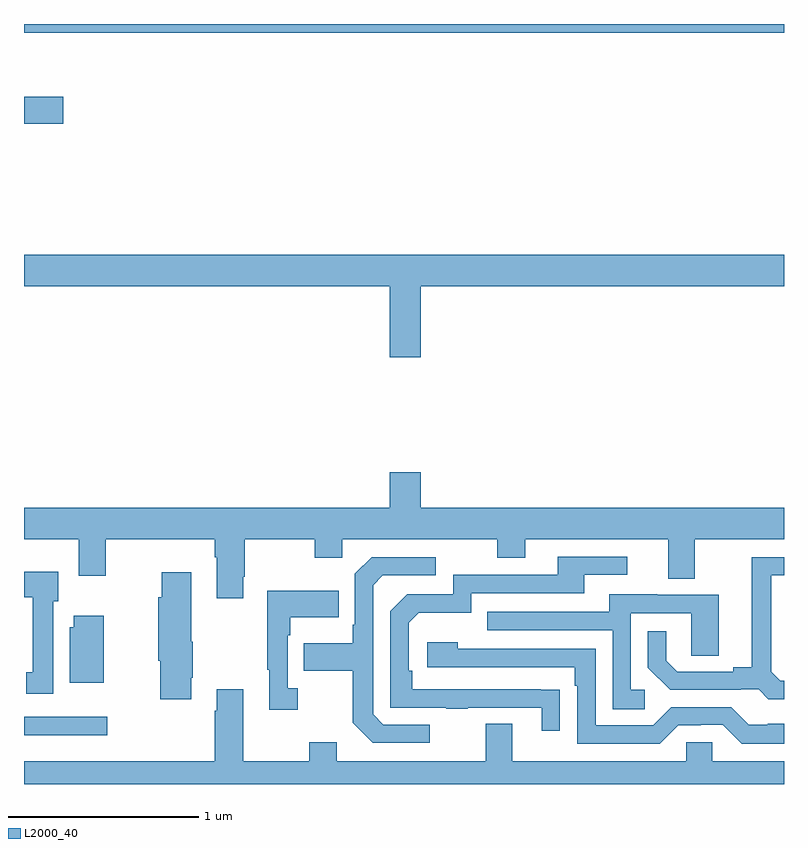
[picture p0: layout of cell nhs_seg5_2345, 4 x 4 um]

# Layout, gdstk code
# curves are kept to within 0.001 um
import gdstk
lib = gdstk.Library(unit=1e-6, precision=1e-09)
def R(c, l, rs):  # rectangles x0, y0, x1, y1
    for r in rs: c.add(gdstk.rectangle(r[:2], r[2:], *l))
def P(c, l, *ps):  # polygons
    for p in ps: c.add(gdstk.Polygon(p, *l))
L2000_40 = (2000, 40)

nhs_seg5_2345 = lib.new_cell('nhs_seg5_2345')
R(nhs_seg5_2345, L2000_40, [(247,861.056,247.438,861.153), (247,864.275,247.207,864.417), (247,864.752,251,864.799)])
P(nhs_seg5_2345, L2000_40, [(249.088,863.42),(251,863.42),(251,863.584),(247,863.584),(247,863.42),(248.924,863.42),(248.924,863.046),(249.088,863.046)],
  [(248.155,861.889),(248.163,861.889),(248.163,862.088),(248.53,862.088),(248.53,861.989),(248.676,861.989),(248.676,862.088),(249.49,862.088),(249.49,861.989),(249.637,861.989),(249.637,862.088),(250.391,862.088),(250.391,861.88),(250.531,861.88),(250.531,862.088),(251,862.088),(251,862.252),(249.088,862.252),(249.088,862.441),(248.924,862.441),(248.924,862.252),(247,862.252),(247,862.088),(247.289,862.088),(247.289,861.894),(247.429,861.894),(247.429,862.088),(248.003,862.088),(248.003,861.992),(248.015,861.992),(248.015,861.777),(248.155,861.777)],
  [(249.821,861.296),(249.044,861.297),(249.044,861.394),(249.024,861.394),(249.024,861.648),(249.077,861.701),(249.354,861.701),(249.354,861.804),(249.949,861.804),(249.949,861.9),(250.174,861.9),(250.174,861.996),(249.809,861.996),(249.809,861.9),(249.258,861.9),(249.258,861.798),(249.018,861.798),(248.928,861.708),(248.928,861.201),(249.223,861.201),(249.223,861.196),(249.335,861.196),(249.335,861.201),(249.725,861.201),(249.725,861.078),(249.821,861.078)],
  [(251,861.342),(250.98,861.342),(250.933,861.389),(250.933,861.897),(251,861.897),(251,861.993),(250.829,861.993),(250.829,861.413),(250.733,861.413),(250.733,861.39),(250.438,861.39),(250.381,861.447),(250.381,861.604),(250.284,861.604),(250.284,861.41),(250.4,861.294),(250.772,861.294),(250.772,861.297),(250.866,861.297),(250.918,861.245),(251,861.245)],
  [(249.136,861.111),(248.892,861.111),(248.838,861.165),(248.838,861.846),(248.889,861.897),(249.166,861.897),(249.166,861.993),(248.829,861.993),(248.742,861.906),(248.742,861.637),(248.73,861.637),(248.73,861.541),(248.473,861.541),(248.473,861.394),(248.73,861.394),(248.73,861.121),(248.835,861.015),(249.136,861.015)],
  [(247.153,861.762),(247.18,861.762),(247.18,861.916),(247,861.916),(247,861.782),(247.046,861.782),(247.046,861.386),(247.013,861.386),(247.013,861.273),(247.153,861.273)],
  [(247.879,861.358),(247.887,861.358),(247.887,861.547),(247.879,861.547),(247.879,861.913),(247.724,861.913),(247.724,861.783),(247.706,861.783),(247.706,861.447),(247.717,861.447),(247.717,861.246),(247.879,861.246)],
  [(248.44,861.302),(248.388,861.302),(248.388,861.581),(248.401,861.581),(248.401,861.677),(248.657,861.677),(248.657,861.817),(248.28,861.817),(248.28,861.401),(248.291,861.401),(248.291,861.189),(248.44,861.189)],
  [(250.267,861.294),(250.194,861.294),(250.194,861.699),(250.512,861.699),(250.512,861.475),(250.657,861.475),(250.657,861.795),(250.333,861.795),(250.333,861.799),(250.079,861.799),(250.079,861.705),(249.439,861.705),(249.439,861.609),(250.098,861.609),(250.098,861.193),(250.267,861.193)],
  [(247.42,861.685),(247.262,861.685),(247.262,861.624),(247.241,861.624),(247.241,861.332),(247.42,861.332)],
  [(251,861.115),(250.915,861.115),(250.915,861.111),(250.815,861.111),(250.722,861.204),(250.407,861.204),(250.311,861.108),(250.008,861.108),(250.008,861.51),(249.284,861.51),(249.284,861.544),(249.123,861.544),(249.123,861.414),(249.899,861.414),(249.899,861.317),(249.912,861.317),(249.912,861.012),(250.347,861.012),(250.443,861.108),(250.562,861.108),(250.562,861.111),(250.677,861.111),(250.777,861.011),(251,861.011)],
  [(251,860.92),(250.623,860.92),(250.623,861.018),(250.485,861.018),(250.485,860.92),(249.571,860.92),(249.571,861.115),(249.431,861.115),(249.431,860.92),(248.647,860.92),(248.647,861.019),(248.5,861.019),(248.5,860.92),(248.155,860.92),(248.155,861.298),(248.015,861.298),(248.015,861.185),(248.003,861.185),(248.003,860.92),(247,860.92),(247,860.799),(251,860.799)])

lib.write_gds('nhs_seg5_2345.gds')
